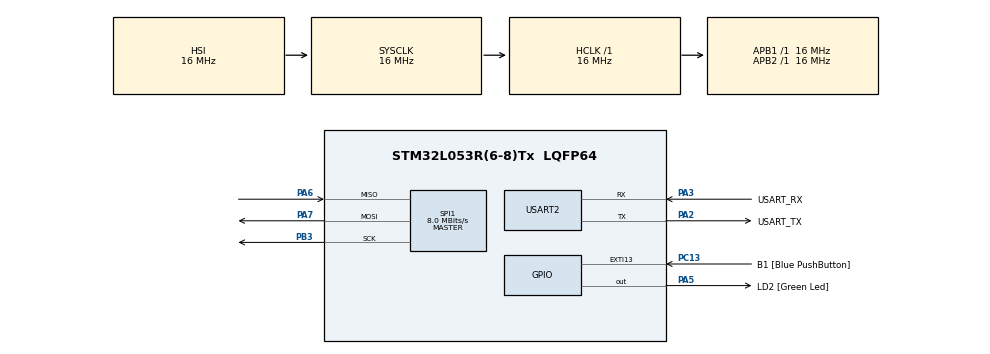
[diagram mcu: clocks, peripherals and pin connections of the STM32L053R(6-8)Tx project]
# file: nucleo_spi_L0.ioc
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Mcu.Family=STM32L0
Mcu.Name=STM32L053R(6-8)Tx
Mcu.Package=LQFP64
NVIC.SPI1_IRQn=true\:0\:0\:false\:false\:true\:true
NVIC.TIM2_IRQn=true\:0\:0\:false\:false\:true\:true
PA13.GPIO_Label=TMS
PA13.Signal=SYS_SWDIO
PA14.GPIO_Label=TCK
PA14.Signal=SYS_SWCLK
PA2.GPIO_Label=USART_TX
PA2.Mode=Asynchronous
PA2.Signal=USART2_TX
PA3.GPIO_Label=USART_RX
PA3.Mode=Asynchronous
PA3.Signal=USART2_RX
PA5.GPIO_Label=LD2 [Green Led]
PA5.Signal=GPIO_Output
PA6.Mode=Full_Duplex_Master
PA6.Signal=SPI1_MISO
PA7.Mode=Full_Duplex_Master
PA7.Signal=SPI1_MOSI
PB3.Mode=Full_Duplex_Master
PB3.Signal=SPI1_SCK
PC13.GPIO_Label=B1 [Blue PushButton]
PC13.GPIO_ModeDefaultEXTI=GPIO_MODE_IT_FALLING
PC13.Signal=GPXTI13
PC14-OSC32_IN.Signal=RCC_OSC32_IN
PC15-OSC32_OUT.Signal=RCC_OSC32_OUT
PH0-OSC_IN.Signal=RCC_OSC_IN
PH1-OSC_OUT.Signal=RCC_OSC_OUT
ProjectManager.HeapSize=0x200
ProjectManager.StackSize=0x400
ProjectManager.TargetToolchain=Makefile
RCC.AHBFreq_Value=16000000
RCC.APB1Freq_Value=16000000
RCC.APB1TimFreq_Value=16000000
RCC.APB2Freq_Value=16000000
RCC.APB2TimFreq_Value=16000000
RCC.HCLKFreq_Value=16000000
RCC.HSE_VALUE=8000000
RCC.HSI16_VALUE=16000000
RCC.HSI48_VALUE=48000000
RCC.HSI_VALUE=16000000
RCC.LSEState=RCC_LSE_ON
RCC.LSE_VALUE=32768
RCC.MSI_VALUE=2097000
RCC.SYSCLKFreq_VALUE=16000000
RCC.SYSCLKSource=RCC_SYSCLKSOURCE_HSI
RCC.VCOOutputFreq_Value=48000000
SPI1.CalculateBaudRate=8.0 MBits/s
SPI1.Direction=SPI_DIRECTION_2LINES
SPI1.Mode=SPI_MODE_MASTER
SPI1.VirtualType=VM_MASTER
TIM2.Period=1000
TIM2.Prescaler=16000
USART2.VirtualMode-Asynchronous=VM_ASYNC
USART2.WordLength=WORDLENGTH_8B
VP_TIM2_VS_ClockSourceINT.Mode=Internal
board=NUCLEO-L053R8

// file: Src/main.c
/**
  ******************************************************************************
  * File Name          : main.c
  * Description        : Main program body
  ******************************************************************************
  ** This notice applies to any and all portions of this file
  * that are not between comment pairs USER CODE BEGIN and
  * USER CODE END. Other portions of this file, whether
  * inserted by the user or by software development tools
  * are owned by their respective copyright owners.
  *
  * COPYRIGHT(c) 2018 STMicroelectronics
  *
  * Redistribution and use in source and binary forms, with or without modification,
  * are permitted provided that the following conditions are met:
  *   1. Redistributions of source code must retain the above copyright notice,
  *      this list of conditions and the following disclaimer.
  *   2. Redistributions in binary form must reproduce the above copyright notice,
  *      this list of conditions and the following disclaimer in the documentation
  *      and/or other materials provided with the distribution.
  *   3. Neither the name of STMicroelectronics nor the names of its contributors
  *      may be used to endorse or promote products derived from this software
  *      without specific prior written permission.
  *
  * THIS SOFTWARE IS PROVIDED BY THE COPYRIGHT HOLDERS AND CONTRIBUTORS "AS IS"
  * AND ANY EXPRESS OR IMPLIED WARRANTIES, INCLUDING, BUT NOT LIMITED TO, THE
  * IMPLIED WARRANTIES OF MERCHANTABILITY AND FITNESS FOR A PARTICULAR PURPOSE ARE
  * DISCLAIMED. IN NO EVENT SHALL THE COPYRIGHT HOLDER OR CONTRIBUTORS BE LIABLE
  * FOR ANY DIRECT, INDIRECT, INCIDENTAL, SPECIAL, EXEMPLARY, OR CONSEQUENTIAL
  * DAMAGES (INCLUDING, BUT NOT LIMITED TO, PROCUREMENT OF SUBSTITUTE GOODS OR
  * SERVICES; LOSS OF USE, DATA, OR PROFITS; OR BUSINESS INTERRUPTION) HOWEVER
  * CAUSED AND ON ANY THEORY OF LIABILITY, WHETHER IN CONTRACT, STRICT LIABILITY,
  * OR TORT (INCLUDING NEGLIGENCE OR OTHERWISE) ARISING IN ANY WAY OUT OF THE USE
  * OF THIS SOFTWARE, EVEN IF ADVISED OF THE POSSIBILITY OF SUCH DAMAGE.
  *
  ******************************************************************************
  */

#include "main.h"
#include "stm32l0xx_hal.h"

SPI_HandleTypeDef hspi1;

TIM_HandleTypeDef htim2;

UART_HandleTypeDef huart2;

/* USER CODE BEGIN PV */
/* Private variables ---------------------------------------------------------*/
volatile uint8_t spiTxBuf[9] = {0x40, 0x41, 0x42, 0x43, 0x44, 0x45, 0x46, 0x47, 0x48};
volatile uint8_t spiRxBuf[9];
/* USER CODE END PV */

void SystemClock_Config(void);
static void MX_GPIO_Init(void);
static void MX_SPI1_Init(void);
static void MX_USART2_UART_Init(void);
static void MX_TIM2_Init(void);

/* USER CODE BEGIN PFP */
/* Private function prototypes -----------------------------------------------*/

/* USER CODE END PFP */

int main(void)
{

  /* MCU Configuration----------------------------------------------------------*/

  /* Reset of all peripherals, Initializes the Flash interface and the Systick. */
  HAL_Init();

  /* Configure the system clock */
  SystemClock_Config();

  /* Initialize all configured peripherals */
  MX_GPIO_Init();
  MX_SPI1_Init();
  MX_USART2_UART_Init();
  MX_TIM2_Init();

  /* USER CODE BEGIN 2 */
  HAL_TIM_Base_Start_IT(&htim2);
  /* USER CODE END 2 */

  /* Infinite loop */
  while (1)
  {

  }

}

/** System Clock Configuration
*/
void SystemClock_Config(void)
{

  RCC_OscInitTypeDef RCC_OscInitStruct;
  RCC_ClkInitTypeDef RCC_ClkInitStruct;
  RCC_PeriphCLKInitTypeDef PeriphClkInit;

    /**Configure the main internal regulator output voltage
    */
  __HAL_PWR_VOLTAGESCALING_CONFIG(PWR_REGULATOR_VOLTAGE_SCALE1);

    /**Initializes the CPU, AHB and APB busses clocks
    */
  RCC_OscInitStruct.OscillatorType = RCC_OSCILLATORTYPE_HSI;
  RCC_OscInitStruct.HSIState = RCC_HSI_ON;
  RCC_OscInitStruct.HSICalibrationValue = 16;
  RCC_OscInitStruct.PLL.PLLState = RCC_PLL_NONE;
  if (HAL_RCC_OscConfig(&RCC_OscInitStruct) != HAL_OK)
  {
    _Error_Handler(__FILE__, __LINE__);
  }

    /**Initializes the CPU, AHB and APB busses clocks
    */
  RCC_ClkInitStruct.ClockType = RCC_CLOCKTYPE_HCLK|RCC_CLOCKTYPE_SYSCLK
                              |RCC_CLOCKTYPE_PCLK1|RCC_CLOCKTYPE_PCLK2;
  RCC_ClkInitStruct.SYSCLKSource = RCC_SYSCLKSOURCE_HSI;
  RCC_ClkInitStruct.AHBCLKDivider = RCC_SYSCLK_DIV1;
  RCC_ClkInitStruct.APB1CLKDivider = RCC_HCLK_DIV1;
  RCC_ClkInitStruct.APB2CLKDivider = RCC_HCLK_DIV1;

  if (HAL_RCC_ClockConfig(&RCC_ClkInitStruct, FLASH_LATENCY_0) != HAL_OK)
  {
    _Error_Handler(__FILE__, __LINE__);
  }

  PeriphClkInit.PeriphClockSelection = RCC_PERIPHCLK_USART2;
  PeriphClkInit.Usart2ClockSelection = RCC_USART2CLKSOURCE_PCLK1;
  if (HAL_RCCEx_PeriphCLKConfig(&PeriphClkInit) != HAL_OK)
  {
    _Error_Handler(__FILE__, __LINE__);
  }

    /**Configure the Systick interrupt time
    */
  HAL_SYSTICK_Config(HAL_RCC_GetHCLKFreq()/1000);

    /**Configure the Systick
    */
  HAL_SYSTICK_CLKSourceConfig(SYSTICK_CLKSOURCE_HCLK);

  /* SysTick_IRQn interrupt configuration */
  HAL_NVIC_SetPriority(SysTick_IRQn, 0, 0);
}

/* SPI1 init function */
static void MX_SPI1_Init(void)
{

  /* SPI1 parameter configuration*/
  hspi1.Instance = SPI1;
  hspi1.Init.Mode = SPI_MODE_MASTER;
  hspi1.Init.Direction = SPI_DIRECTION_2LINES;
  hspi1.Init.DataSize = SPI_DATASIZE_8BIT;
  hspi1.Init.CLKPolarity = SPI_POLARITY_LOW;
  hspi1.Init.CLKPhase = SPI_PHASE_1EDGE;
  hspi1.Init.NSS = SPI_NSS_SOFT;
  hspi1.Init.BaudRatePrescaler = SPI_BAUDRATEPRESCALER_2;
  hspi1.Init.FirstBit = SPI_FIRSTBIT_MSB;
  hspi1.Init.TIMode = SPI_TIMODE_DISABLE;
  hspi1.Init.CRCCalculation = SPI_CRCCALCULATION_DISABLE;
  hspi1.Init.CRCPolynomial = 7;
  if (HAL_SPI_Init(&hspi1) != HAL_OK)
  {
    _Error_Handler(__FILE__, __LINE__);
  }

}

/* TIM2 init function */
static void MX_TIM2_Init(void)
{

  TIM_ClockConfigTypeDef sClockSourceConfig;
  TIM_MasterConfigTypeDef sMasterConfig;

  htim2.Instance = TIM2;
  htim2.Init.Prescaler = 16000;
  htim2.Init.CounterMode = TIM_COUNTERMODE_UP;
  htim2.Init.Period = 1000;
  htim2.Init.ClockDivision = TIM_CLOCKDIVISION_DIV1;
  if (HAL_TIM_Base_Init(&htim2) != HAL_OK)
  {
    _Error_Handler(__FILE__, __LINE__);
  }

  sClockSourceConfig.ClockSource = TIM_CLOCKSOURCE_INTERNAL;
  if (HAL_TIM_ConfigClockSource(&htim2, &sClockSourceConfig) != HAL_OK)
  {
    _Error_Handler(__FILE__, __LINE__);
  }

  sMasterConfig.MasterOutputTrigger = TIM_TRGO_RESET;
  sMasterConfig.MasterSlaveMode = TIM_MASTERSLAVEMODE_DISABLE;
  if (HAL_TIMEx_MasterConfigSynchronization(&htim2, &sMasterConfig) != HAL_OK)
  {
    _Error_Handler(__FILE__, __LINE__);
  }

}

/* USART2 init function */
static void MX_USART2_UART_Init(void)
{

  huart2.Instance = USART2;
  huart2.Init.BaudRate = 115200;
  huart2.Init.WordLength = UART_WORDLENGTH_8B;
  huart2.Init.StopBits = UART_STOPBITS_1;
  huart2.Init.Parity = UART_PARITY_NONE;
  huart2.Init.Mode = UART_MODE_TX_RX;
  huart2.Init.HwFlowCtl = UART_HWCONTROL_NONE;
  huart2.Init.OverSampling = UART_OVERSAMPLING_16;
  huart2.Init.OneBitSampling = UART_ONE_BIT_SAMPLE_DISABLE;
  huart2.AdvancedInit.AdvFeatureInit = UART_ADVFEATURE_NO_INIT;
  if (HAL_UART_Init(&huart2) != HAL_OK)
  {
    _Error_Handler(__FILE__, __LINE__);
  }

}

/** Configure pins as
        * Analog
        * Input
        * Output
        * EVENT_OUT
        * EXTI
*/
static void MX_GPIO_Init(void)
{

  GPIO_InitTypeDef GPIO_InitStruct;

  /* GPIO Ports Clock Enable */
  __HAL_RCC_GPIOC_CLK_ENABLE();
  __HAL_RCC_GPIOH_CLK_ENABLE();
  __HAL_RCC_GPIOA_CLK_ENABLE();
  __HAL_RCC_GPIOB_CLK_ENABLE();

  /*Configure GPIO pin Output Level */
  HAL_GPIO_WritePin(LD2_GPIO_Port, LD2_Pin, GPIO_PIN_RESET);

  /*Configure GPIO pin : B1_Pin */
  GPIO_InitStruct.Pin = B1_Pin;
  GPIO_InitStruct.Mode = GPIO_MODE_IT_FALLING;
  GPIO_InitStruct.Pull = GPIO_NOPULL;
  HAL_GPIO_Init(B1_GPIO_Port, &GPIO_InitStruct);

  /*Configure GPIO pin : LD2_Pin */
  GPIO_InitStruct.Pin = LD2_Pin;
  GPIO_InitStruct.Mode = GPIO_MODE_OUTPUT_PP;
  GPIO_InitStruct.Pull = GPIO_NOPULL;
  GPIO_InitStruct.Speed = GPIO_SPEED_FREQ_LOW;
  HAL_GPIO_Init(LD2_GPIO_Port, &GPIO_InitStruct);

}

/* USER CODE BEGIN 4 */
void HAL_TIM_PeriodElapsedCallback(TIM_HandleTypeDef *htim)
{
    if (htim->Instance == htim2.Instance)
    {
        HAL_GPIO_TogglePin(LD2_GPIO_Port, LD2_Pin);
    }

	HAL_SPI_Transmit_IT(&hspi1, (uint8_t*)spiTxBuf, sizeof(spiTxBuf));
}

void HAL_SPI_TxCpltCallback (SPI_HandleTypeDef * hspi)
{
    printf("HAL_SPI_TxCpltCallback, size = %u\n", hspi->TxXferSize);
}

void HAL_SPI_TxRxCpltCallback(SPI_HandleTypeDef *hspi)
{
    uint16_t i;

    printf("HAL_SPI_TxRxCpltCallback, size %u: ", hspi->RxXferSize);
    for (i = 0; i < hspi->RxXferSize; i++)
    {
        printf("0x%02x ", spiRxBuf[i]);
    }
    printf("\n");
}

void HAL_SPI_ErrorCallback (SPI_HandleTypeDef * hspi)
{
    printf("HAL_SPI_ErrorCallback - %08lx\n", hspi->ErrorCode);
}

/* USER CODE END 4 */

void _Error_Handler(char * file, int line)
{
  /* USER CODE BEGIN Error_Handler_Debug */
  /* User can add his own implementation to report the HAL error return state */
  printf("Error in %s, %d\n", file, line);
  while(1)
  {
  }
  /* USER CODE END Error_Handler_Debug */
}

/************************ (C) COPYRIGHT STMicroelectronics *****END OF FILE****/
